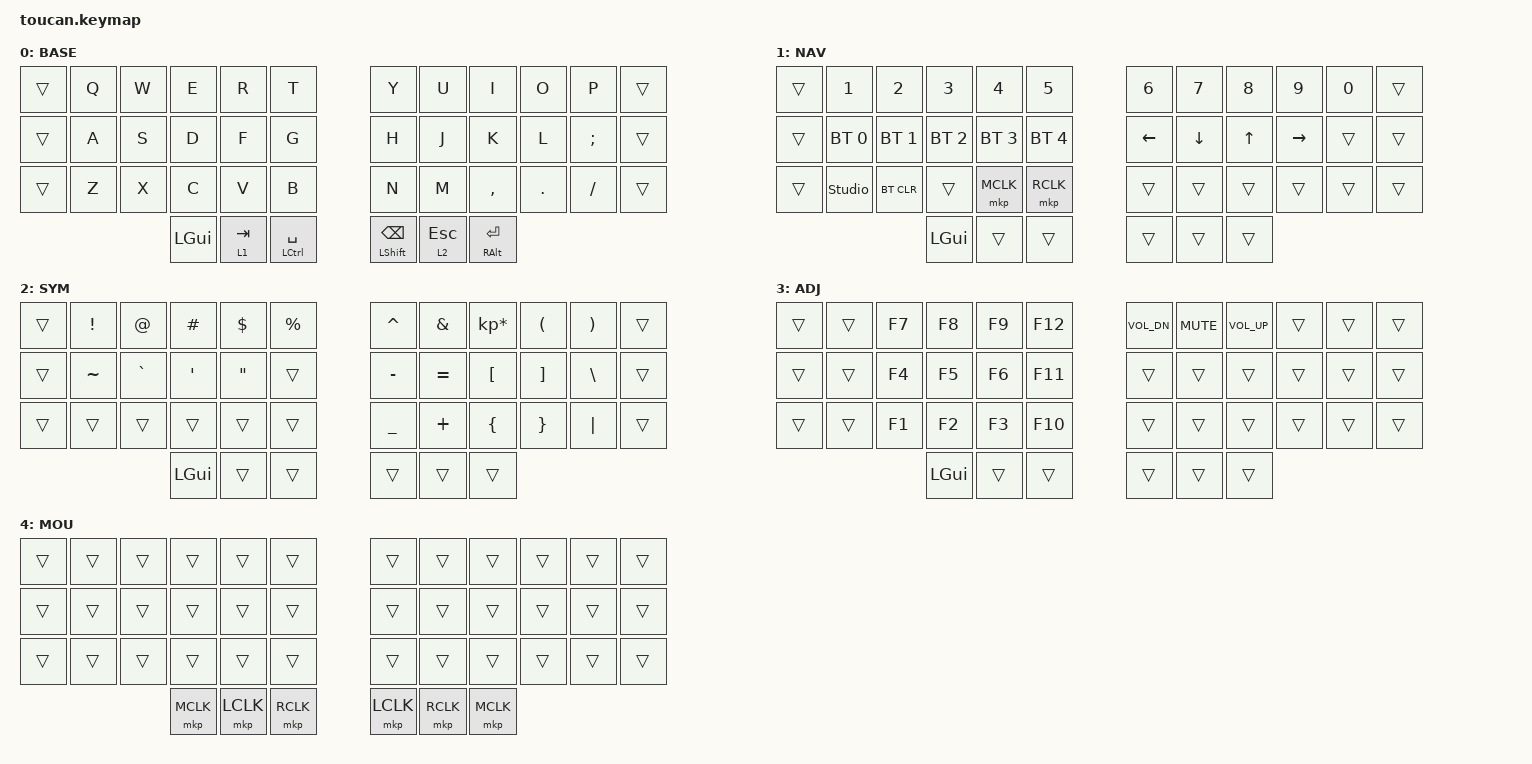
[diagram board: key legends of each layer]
#include <behaviors.dtsi>
#include <dt-bindings/zmk/keys.h>
#include <dt-bindings/zmk/bt.h>
#include <dt-bindings/zmk/outputs.h>
#include <dt-bindings/zmk/pointing.h>

#define BASE 0
#define NAV  1
#define SYM  2
#define ADJ  3

/ {
    behaviors {
        mt_slow: mod_tap_slow {
            compatible = "zmk,behavior-hold-tap";
            label = "MOD_TAP_SLOW";
            #binding-cells = <2>;
            tapping-term-ms = <250>;
            flavor = "tap-preferred";
            bindings = <&kp>, <&kp>;
        };
    };

    conditional_layers {
        compatible = "zmk,conditional-layers";
        tri_layer {
            if-layers = <1 2>;
            then-layer = <3>;
        };
    };

    keymap {
        compatible = "zmk,keymap";

        base {
            display-name = "BASE";
            bindings = <
                &trans &kp Q &kp W &kp E &kp R &kp T                           &kp Y &kp U  &kp I     &kp O   &kp P    &trans
                &trans &kp A &kp S &kp D &kp F &kp G                           &kp H &kp J  &kp K     &kp L   &kp SEMI &trans
                &trans &kp Z &kp X &kp C &kp V &kp B                           &kp N &kp M  &kp COMMA &kp DOT &kp FSLH &trans
                                   &kp LGUI &lt 1 TAB &mt_slow LCTRL SPACE     &mt_slow LSHFT BSPC  &lt 2 ESC &mt_slow RALT RET
            >;
        };

        nav {
            display-name = "NAV";
            bindings = <
                &trans     &kp N1          &kp N2       &kp N3       &kp N4       &kp N5         &kp N6   &kp N7   &kp N8 &kp N9    &kp N0 &trans
                &trans  &bt BT_SEL 0    &bt BT_SEL 1 &bt BT_SEL 2 &bt BT_SEL 3 &bt BT_SEL 4   &kp LEFT &kp DOWN &kp UP &kp RIGHT &trans &trans
                &trans   &studio_unlock  &bt BT_CLR       &trans       &mkp MCLK       &mkp RCLK         &trans   &trans   &trans &trans    &trans &trans
                                                &kp LGUI     &trans       &trans      &trans  &trans   &trans
            >;
        };

        sym {
            display-name = "SYM";
            bindings = <
                &trans   &kp EXCL &kp AT &kp HASH &kp DLLR &kp PRCNT   &kp CARET &kp AMPS  &kp KP_MULTIPLY &kp LPAR &kp RPAR &trans
                &trans &kp TILDE   &kp GRAVE &kp SQT   &kp DQT   &trans      &kp MINUS &kp EQUAL &kp LBKT        &kp RBKT &kp BSLH &trans
                &trans &trans   &trans &trans   &trans   &trans      &kp UNDER &kp PLUS  &kp LBRC        &kp RBRC &kp PIPE &trans
                                          &kp LGUI &trans   &trans   &trans   &trans    &trans
            >;
        };

        adj {
            display-name = "ADJ";
            bindings = <
                &trans   &trans &kp F7 &kp F8 &kp F9 &kp F12   &kp C_VOL_DN &kp C_MUTE  &kp C_VOL_UP &trans &trans &trans
                &trans &trans &kp F4 &kp F5 &kp F6 &kp F11   &trans       &trans      &trans       &trans &trans &trans
                &trans &trans &kp F1 &kp F2 &kp F3 &kp F10   &trans       &trans      &trans       &trans &trans &trans
                                   &kp LGUI &trans &trans   &trans &trans &trans
            >;
        };

        mouse {
            display-name = "MOU";
            bindings = <
                &trans &trans &trans &trans &trans &trans           &trans &trans &trans &trans &trans &trans
                &trans &trans &trans &trans &trans &trans           &trans &trans &trans &trans &trans &trans
                &trans &trans &trans &trans &trans &trans           &trans &trans &trans &trans &trans &trans
                            &mkp MCLK &mkp LCLK &mkp RCLK           &mkp LCLK &mkp RCLK &mkp MCLK
            >;
        };

        extra_2 {
                status = "reserved";
        };

        extra_3 {
                status = "reserved";
        };
    };
};
